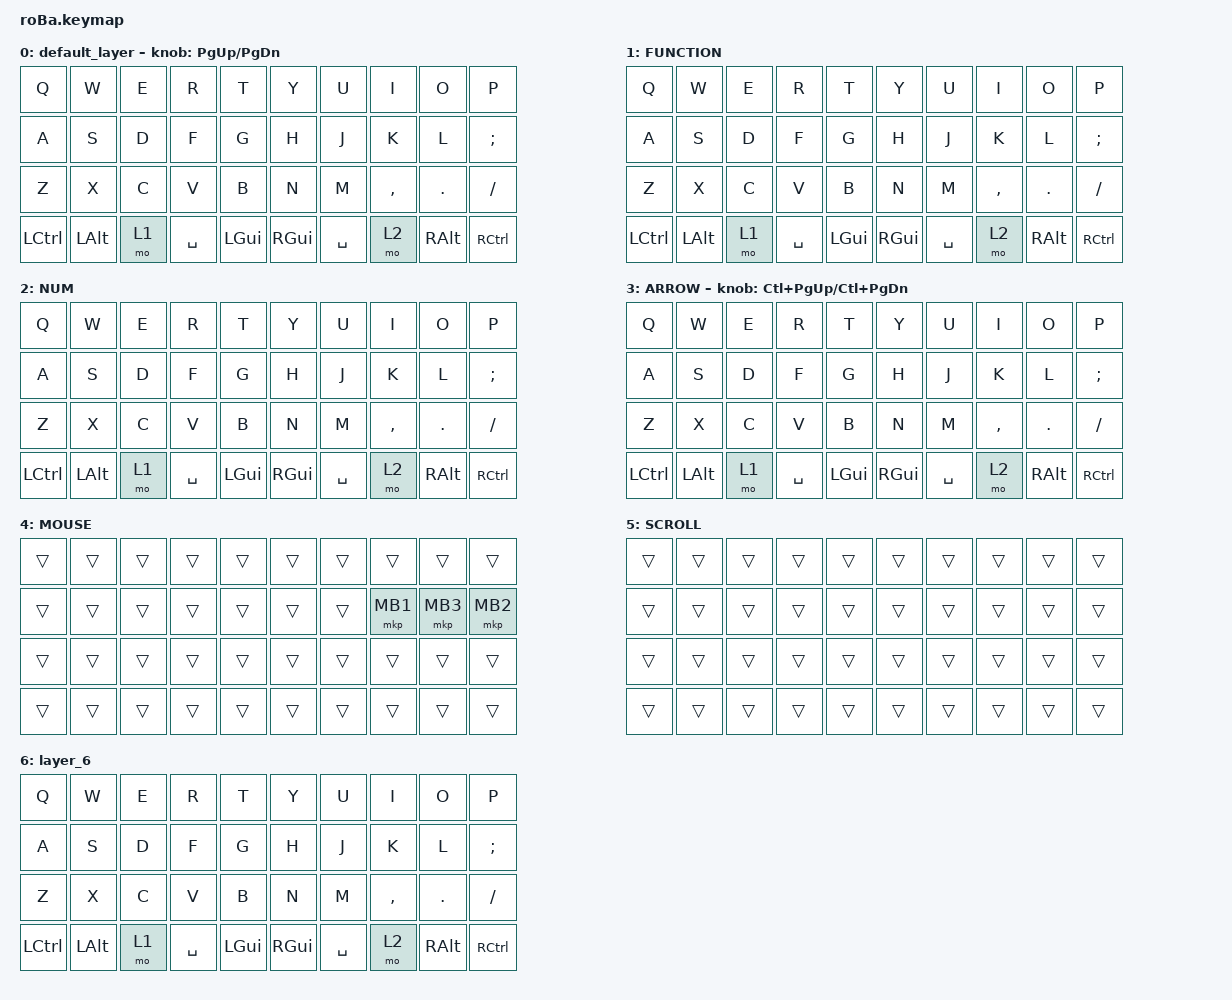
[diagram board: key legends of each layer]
#include <behaviors.dtsi>
#include <dt-bindings/zmk/bt.h>
#include <dt-bindings/zmk/keys.h>
#include <dt-bindings/zmk/pointing.h>

&mt {
    flavor = "balanced";
    quick-tap-ms = <0>;
};

/ {
    combos {
        compatible = "zmk,combos";

        tab {
            bindings = <&kp TAB>;
            key-positions = <11 12>;
        };

        shift_tab {
            bindings = <&kp LS(TAB)>;
            key-positions = <12 13>;
        };

        muhennkann {
            bindings = <&to_layer_0 INT_MUHENKAN>;
            key-positions = <11 10>;
        };

        double_quotation {
            bindings = <&kp DOUBLE_QUOTES>;
            key-positions = <20 21>;
        };

        eq {
            bindings = <&kp EQUAL>;
            key-positions = <24 25>;
        };
    };

    macros {
        to_layer_0: to_layer_0 {
            compatible = "zmk,behavior-macro-one-param";
            #binding-cells = <1>;
            bindings = <&to 0 &macro_param_1to1 &kp MACRO_PLACEHOLDER>;
            label = "TO_LAYER_0";
        };
    };

    behaviors {
        lt_to_layer_0: lt_to_layer_0 {
            compatible = "zmk,behavior-hold-tap";
            label = "LAYER_TAP_TO_0";
            bindings = <&mo>, <&to_layer_0>;

            #binding-cells = <2>;
            tapping-term-ms = <200>;
        };
    };

    keymap {
        compatible = "zmk,keymap";

        default_layer {
            bindings = <
            // 左手                              右手
                &kp Q       &kp W       &kp E       &kp R       &kp T           &kp Y       &kp U       &kp I       &kp O       &kp P
                &kp A       &kp S       &kp D       &kp F       &kp G           &kp H       &kp J       &kp K       &kp L       &kp SEMI
                &kp Z       &kp X       &kp C       &kp V       &kp B           &kp N       &kp M       &kp COMMA   &kp DOT     &kp SLASH
                &kp LCTRL   &kp LALT    &mo 1       &kp SPACE   &kp LGUI        &kp RGUI    &kp SPACE   &mo 2       &kp RALT    &kp RCTRL
            >;

            sensor-bindings = <&inc_dec_kp PG_UP PAGE_DOWN>;
        };

        FUNCTION {
            bindings = <
            // 左手                              右手
                &kp Q       &kp W       &kp E       &kp R       &kp T           &kp Y       &kp U       &kp I       &kp O       &kp P
                &kp A       &kp S       &kp D       &kp F       &kp G           &kp H       &kp J       &kp K       &kp L       &kp SEMI
                &kp Z       &kp X       &kp C       &kp V       &kp B           &kp N       &kp M       &kp COMMA   &kp DOT     &kp SLASH
                &kp LCTRL   &kp LALT    &mo 1       &kp SPACE   &kp LGUI        &kp RGUI    &kp SPACE   &mo 2       &kp RALT    &kp RCTRL
            >;
        };

        NUM {
            bindings = <
            // 左手                              右手
                &kp Q       &kp W       &kp E       &kp R       &kp T           &kp Y       &kp U       &kp I       &kp O       &kp P
                &kp A       &kp S       &kp D       &kp F       &kp G           &kp H       &kp J       &kp K       &kp L       &kp SEMI
                &kp Z       &kp X       &kp C       &kp V       &kp B           &kp N       &kp M       &kp COMMA   &kp DOT     &kp SLASH
                &kp LCTRL   &kp LALT    &mo 1       &kp SPACE   &kp LGUI        &kp RGUI    &kp SPACE   &mo 2       &kp RALT    &kp RCTRL
            >;
        };

        ARROW {
            bindings = <
            // 左手                              右手
                &kp Q       &kp W       &kp E       &kp R       &kp T           &kp Y       &kp U       &kp I       &kp O       &kp P
                &kp A       &kp S       &kp D       &kp F       &kp G           &kp H       &kp J       &kp K       &kp L       &kp SEMI
                &kp Z       &kp X       &kp C       &kp V       &kp B           &kp N       &kp M       &kp COMMA   &kp DOT     &kp SLASH
                &kp LCTRL   &kp LALT    &mo 1       &kp SPACE   &kp LGUI        &kp RGUI    &kp SPACE   &mo 2       &kp RALT    &kp RCTRL
            >;

            sensor-bindings = <&inc_dec_kp LC(PAGE_UP) LC(PAGE_DOWN)>;
        };

        MOUSE {
            bindings = <
&trans  &trans  &trans  &trans  &trans        &trans  &trans  &trans    &trans    &trans
&trans  &trans  &trans  &trans  &trans        &trans  &trans  &mkp MB1  &mkp MB3  &mkp MB2  
&trans  &trans  &trans  &trans  &trans        &trans  &trans  &trans    &trans    &trans    
&trans  &trans  &trans  &trans  &trans        &trans  &trans  &trans    &trans    &trans                      
            >;
        };

        SCROLL {
            bindings = <
&trans  &trans  &trans  &trans  &trans       &trans  &trans  &trans  &trans  &trans  
&trans  &trans  &trans  &trans  &trans       &trans  &trans  &trans  &trans  &trans  
&trans  &trans  &trans  &trans  &trans       &trans  &trans  &trans  &trans  &trans  
&trans  &trans  &trans  &trans  &trans       &trans  &trans  &trans  &trans  &trans                   
            >;
        };

        layer_6 {
            bindings = <
            // 左手                              右手
                &kp Q       &kp W       &kp E       &kp R       &kp T           &kp Y       &kp U       &kp I       &kp O       &kp P
                &kp A       &kp S       &kp D       &kp F       &kp G           &kp H       &kp J       &kp K       &kp L       &kp SEMI
                &kp Z       &kp X       &kp C       &kp V       &kp B           &kp N       &kp M       &kp COMMA   &kp DOT     &kp SLASH
                &kp LCTRL   &kp LALT    &mo 1       &kp SPACE   &kp LGUI        &kp RGUI    &kp SPACE   &mo 2       &kp RALT    &kp RCTRL
            >;
        };
    };
};
